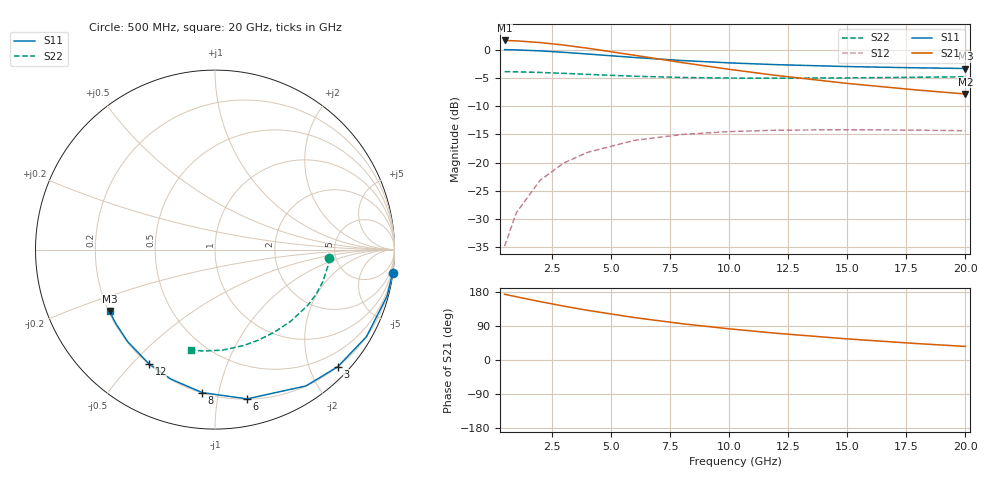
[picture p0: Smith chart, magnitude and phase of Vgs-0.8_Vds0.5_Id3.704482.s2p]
# Hz S RI R 50
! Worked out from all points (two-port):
!   12 points, 500 MHz to 20 GHz, reference 50 ohm
!   highest |S21| = 1.61 dB at 500 MHz (marker M1); lowest = -7.9 dB at 20 GHz (marker M2)
!   |S21| within 3 dB of the highest: start of sweep to 6.59 GHz
!   lowest |S11| = -3.4 dB at 20 GHz (marker M3), VSWR 5.24, Z = 10.2 - j13 ohm
!   |S11| at or under -10 dB: nowhere
!   |S22| runs from -5.1 to -3.9 dB; largest |S21 - S12| = 1.2
!   S11 on the Smith chart (normalised r, x): 500 MHz: 0, -15; 3 GHz: 0.20, -2.48; 6 GHz: 0.20, -1.22; 8 GHz: 0.20, -0.89; 12 GHz: 0.20, -0.56; 20 GHz: 0.20, -0.26
5e8  0.9894 -0.1326  -1.195 0.1379  0.00171 0.0182  0.6361 -0.0462
1e9  0.9582 -0.2603  -1.162 0.2705  0.00671 0.0355  0.6289 -0.0915
2e9  0.844 -0.4849  -1.038 0.5019  0.025 0.0652  0.6022 -0.176
3e9  0.6841 -0.6524  -0.8665 0.6707  0.0503 0.0853  0.5633 -0.249
4e9  0.5071 -0.7595  -0.6774 0.7737  0.0779 0.0955  0.5177 -0.3097
6e9  0.179 -0.8317  -0.3321 0.8255  0.1271 0.093  0.4219 -0.3993
8e9  -0.071 -0.7968  -0.0781 0.7637  0.1612 0.0739  0.3296 -0.4607
1e10  -0.2463 -0.7215  0.09 0.6627  0.1815 0.0498  0.2428 -0.5039
1.2e10  -0.3678 -0.6365  0.1963 0.5568  0.1918 0.0261  0.1601 -0.5343
1.5e10  -0.4855 -0.5143  0.283 0.4144  0.1954 -0.00502  0.0426 -0.56
1.8e10  -0.5564 -0.4063  0.3195 0.2994  0.1914 -0.0298  -0.0666 -0.565
2e10  -0.5875 -0.3419  0.3281 0.2368  0.1864 -0.0431  -0.1341 -0.5586
